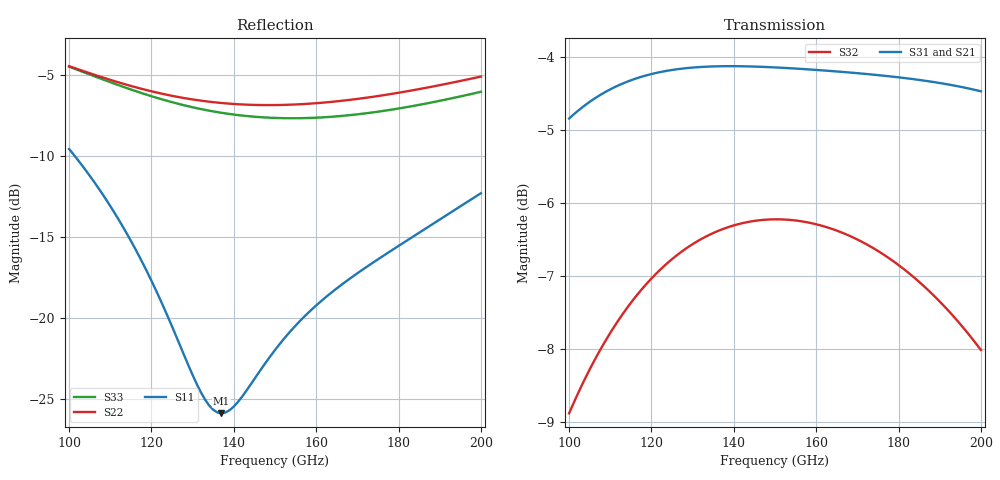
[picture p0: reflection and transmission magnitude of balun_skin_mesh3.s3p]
! Created with skrf 2.2.0 (http://scikit-rf.org).
# GHz S DB R 50.0
! Port[1] = P1
! Port[2] = P2
! Port[3] = P3
!freq dBS11 angS11 dBS12 angS12 dBS13 angS13
! dBS21 angS21 dBS22 angS22 dBS23 angS23
! dBS31 angS31 dBS32 angS32 dBS33 angS33
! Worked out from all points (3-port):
!   101 points, 100 GHz to 200 GHz, reference 50 ohm
!   strongest paths, dB at 100 GHz, 125 GHz, 150 GHz, 175 GHz, 200 GHz:
!     S31: -4.8, -4.2, -4.1, -4.2, -4.5
!     S21: -4.6, -4.0, -4.1, -4.4, -4.9
!     S32: -8.9, -6.8, -6.2, -6.7, -8.0
!   lowest |S11| = -25.9 dB at 137 GHz (marker M1), VSWR 1.11, Z = 45.3 + j0.979 ohm
!   |S11| at or under -10 dB: 101.4 GHz to end of sweep
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100  -9.55 129.6  -4.56 -13.9  -4.84 162.2
     -4.56 -13.9  -4.43 59.8  -8.88 89.9
     -4.84 162.2  -8.88 89.9  -4.45 49.0
110  -13.08 119.6  -4.22 -29.6  -4.44 145.4
     -4.22 -29.6  -5.27 50.7  -7.78 74.2
     -4.44 145.4  -7.78 74.2  -5.42 38.2
119  -17.18 116.6  -4.07 -42.9  -4.24 131.2
     -4.07 -42.9  -5.92 43.5  -7.09 60.8
     -4.24 131.2  -7.09 60.8  -6.20 29.7
132  -24.60 141.2  -4.03 -60.7  -4.13 112.2
     -4.03 -60.7  -6.56 34.1  -6.49 42.8
     -4.13 112.2  -6.49 42.8  -7.08 18.9
137  -25.90 167.7  -4.05 -67.1  -4.12 105.2
     -4.05 -67.1  -6.70 30.6  -6.36 36.2
     -4.12 105.2  -6.36 36.2  -7.31 15.1
141  -25.19 -172.5  -4.07 -72.2  -4.12 99.8
     -4.07 -72.2  -6.78 27.8  -6.29 31.0
     -4.12 99.8  -6.29 31.0  -7.45 12.1
150  -21.98 -150.4  -4.14 -83.2  -4.14 88.0
     -4.14 -83.2  -6.83 21.3  -6.22 19.8
     -4.14 88.0  -6.22 19.8  -7.63 5.3
160  -19.23 -143.0  -4.23 -95.2  -4.17 75.2
     -4.23 -95.2  -6.72 13.7  -6.29 7.6
     -4.17 75.2  -6.29 7.6  -7.61 -2.3
174  -16.54 -139.9  -4.40 -111.6  -4.24 57.8
     -4.40 -111.6  -6.31 2.1  -6.62 -8.9
     -4.24 57.8  -6.62 -8.9  -7.28 -13.6
200  -12.28 -142.9  -4.91 -142.7  -4.46 25.0
     -4.91 -142.7  -5.07 -22.2  -8.01 -39.3
     -4.46 25.0  -8.01 -39.3  -6.01 -36.8
